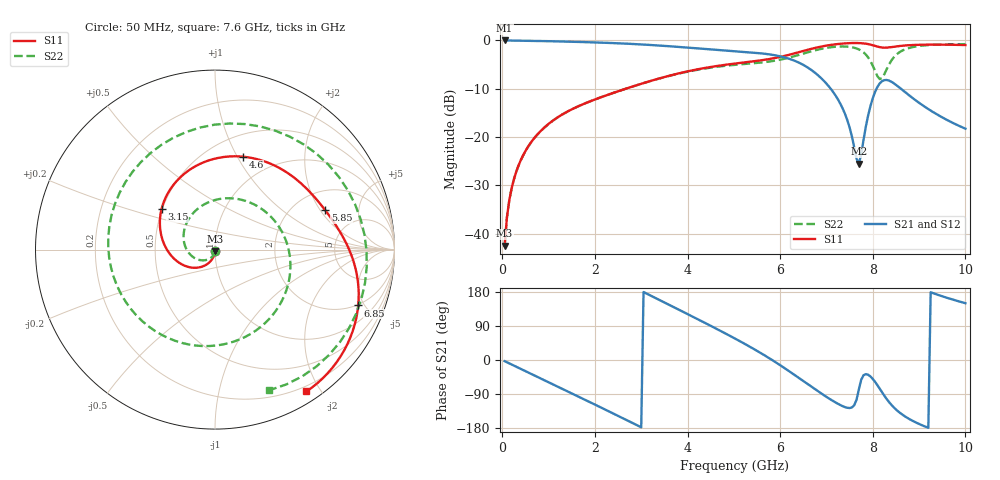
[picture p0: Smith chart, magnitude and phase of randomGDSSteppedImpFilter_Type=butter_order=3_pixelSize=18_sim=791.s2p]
! freq	dB(S11)	phase(S11)	dB(S12)	phase(S12)
!  dB(S21)	phase(S21)	dB(S22)	phase(S22)
!S-par simulation data
#  GHz  S  DB  R 50
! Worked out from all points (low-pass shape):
!   200 points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, 50 MHz to 10 GHz, reference 50 ohm
!   highest |S21| = -0.01 dB at 50 MHz (marker M1); lowest = -25.5 dB at 7.7 GHz (marker M2)
!   |S21| within 3 dB of the highest: start of sweep to 5.847 GHz
!   lowest |S11| = -42.5 dB at 50 MHz (marker M3), VSWR 1.02, Z = 50 - j0.749 ohm
!   |S11| at or under -10 dB: start of sweep to 2.666 GHz
!   |S22| runs from -42.6 to -0.8 dB; largest |S21 - S12| = 0
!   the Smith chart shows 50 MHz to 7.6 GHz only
!   S11 on the Smith chart (normalised r, x): 50 MHz: 1.00, -0.01; 3.15 GHz: 0.50, +0.26; 4.6 GHz: 0.72, +1.05; 5.85 GHz: 2.92, +2.23; 6.85 GHz: 1.94, -4.52; 7.6 GHz: 0.13, -1.83
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0.05  -42.51 -90.1  -0.01 -3.0  -0.01 -3.0  -42.60 -90.6
0.2  -30.69 -98.2  -0.02 -11.8  -0.02 -11.8  -30.72 -104.6
0.5  -22.89 -111.9  -0.06 -29.5  -0.06 -29.5  -22.93 -127.7
1.75  -13.18 -162.3  -0.34 -102.8  -0.34 -102.8  -13.18 134.8
2.5  -10.53 169.5  -0.59 -147.4  -0.59 -147.4  -10.52 74.0
3.15  -8.54 142.6  -0.91 173.3  -0.91 173.3  -8.55 22.6
3.4  -7.84 131.4  -1.07 158.0  -1.07 158.0  -7.86 3.5
4.6  -5.35 73.4  -1.92 83.9  -1.92 83.9  -5.50 -85.7
5.05  -4.76 52.3  -2.24 55.0  -2.24 55.0  -5.03 -122.3
5.85  -3.71 19.6  -3.01 -1.8  -3.01 -1.8  -4.25 155.5
6.3  -2.71 2.7  -4.16 -38.6  -4.16 -38.6  -3.28 96.9
6.7  -1.68 -14.3  -6.30 -72.8  -6.30 -72.8  -2.18 43.3
6.85  -1.35 -21.3  -7.49 -85.3  -7.49 -85.3  -1.82 24.1
7.2  -0.79 -38.0  -11.47 -112.3  -11.47 -112.3  -1.30 -18.5
7.6  -0.54 -57.2  -22.15 -119.3  -22.15 -119.3  -1.52 -69.2
7.7  -0.55 -62.0  -25.50 -77.5  -25.50 -77.5  -1.86 -84.6
8.05  -1.13 -77.5  -10.65 -57.7  -10.65 -57.7  -6.35 -178.8
8.2  -1.47 -81.0  -8.44 -85.2  -8.44 -85.2  -7.81 96.1
8.35  -1.45 -83.8  -8.32 -110.8  -8.32 -110.8  -5.00 30.3
8.6  -1.14 -91.1  -9.95 -140.7  -9.95 -140.7  -2.30 -21.9
9  -0.90 -105.2  -12.92 -168.8  -12.92 -168.8  -1.15 -61.8
10  -0.95 -141.3  -18.27 149.9  -18.27 149.9  -0.77 -113.4
